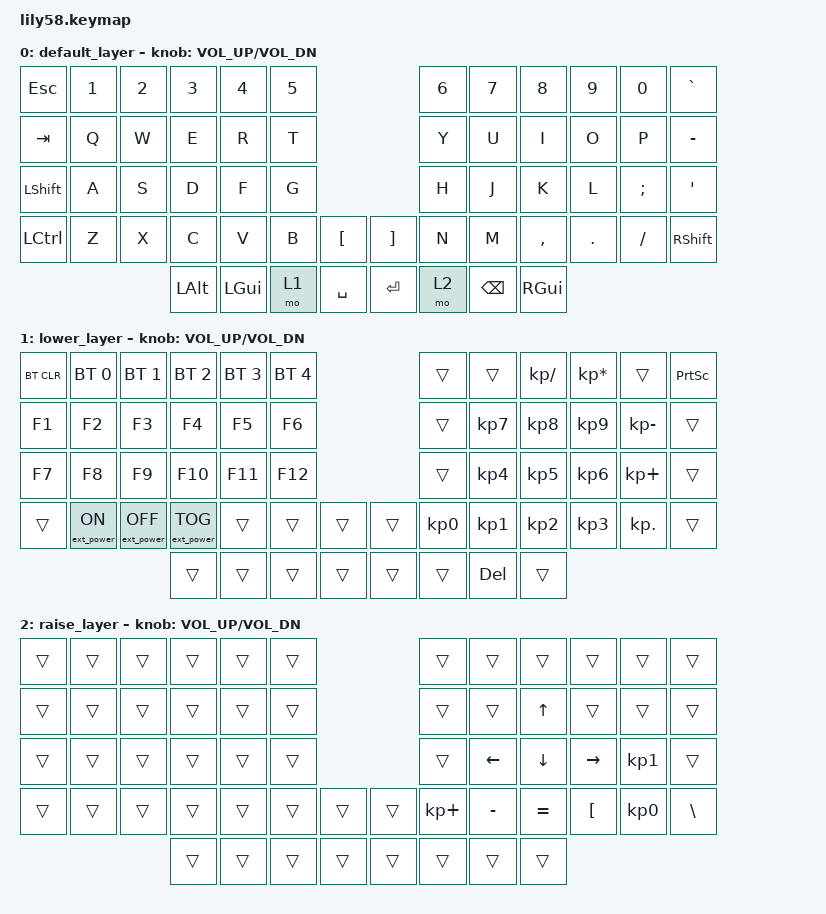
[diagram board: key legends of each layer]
/*
 * Copyright (c) 2020 The ZMK Contributors
 *
 * SPDX-License-Identifier: MIT
 */

#include <behaviors.dtsi>
#include <dt-bindings/zmk/keys.h>
#include <dt-bindings/zmk/bt.h>
#include <dt-bindings/zmk/ext_power.h>

/ {
	keymap {
		compatible = "zmk,keymap";

		default_layer {
// ------------------------------------------------------------------------------------------------------------
// |  ESC  |  1  |  2  |  3   |  4   |  5   |                   |  6   |  7    |  8    |  9   |   0   |   `   |
// |  TAB  |  Q  |  W  |  E   |  R   |  T   |                   |  Y   |  U    |  I    |  O   |   P   |   -   |
// |  CTRL |  A  |  S  |  D   |  F   |  G   |                   |  H   |  J    |  K    |  L   |   ;   |   '   |
// | SHIFT |  Z  |  X  |  C   |  V   |  B   |   "["  |  |  "]"  |  N   |  M    |  ,    |  .   |   /   | SHIFT |
//                     | ALT  | GUI  | LOWER|  SPACE |  | ENTER | RAISE| BSPC  | GUI   |
			bindings = <
&kp ESC   &kp N1 &kp N2 &kp N3   &kp N4   &kp N5                     &kp N6 &kp N7   &kp N8    &kp N9  &kp N0   &kp GRAVE
&kp TAB   &kp Q  &kp W  &kp E    &kp R    &kp T                      &kp Y  &kp U    &kp I     &kp O   &kp P    &kp MINUS
&kp LSHFT &kp A  &kp S  &kp D    &kp F    &kp G                      &kp H  &kp J    &kp K     &kp L   &kp SEMI &kp SQT
&kp LCTRL &kp Z  &kp X  &kp C    &kp V    &kp B  &kp LBKT   &kp RBKT &kp N  &kp M    &kp COMMA &kp DOT &kp FSLH &kp RSHFT
                        &kp LALT &kp LGUI &mo 1  &kp SPACE  &kp RET  &mo 2  &kp BSPC &kp RGUI
			>;

			sensor-bindings = <&inc_dec_kp C_VOL_UP C_VOL_DN>;
		};

		lower_layer {
// ------------------------------------------------------------------------------------------------------------
// | BTCLR | BT1 | BT2 |  BT3 |  BT4 |  BT5 |                   |      |       |  /    |  *   |       | pscrn |
// |  F1   |  F2 |  F3 |  F4  |  F5  |  F6  |                   |      |  7    |  8    |  9   |   -   |       |
// |  F7   |  F8 |  F9 |  F10 |  F11 |  F12 |                   |      |  4    |  5    |  6   |   +   |       |
// |       |     |     |      |      |      |        |  |       |  0   |  1    |  2    |  3   |       |       |
//                     |      |      |      |        |  |       |      |  DEL  |       |
			bindings = <
&bt BT_CLR &bt BT_SEL 0     &bt BT_SEL 1      &bt BT_SEL 2      &bt BT_SEL 3 &bt BT_SEL 4                 &trans     &trans       &kp KP_SLASH   &kp KP_MULTIPLY      &trans          &kp PSCRN
&kp F1     &kp F2           &kp F3            &kp F4            &kp F5       &kp F6                       &trans     &kp KP_N7    &kp KP_N8      &kp KP_N9            &kp KP_MINUS    &trans
&kp F7     &kp F8           &kp F9            &kp F10           &kp F11      &kp F12                      &trans     &kp KP_N4    &kp KP_N5      &kp KP_N6            &kp KP_PLUS     &trans
&trans     &ext_power EP_ON &ext_power EP_OFF &ext_power EP_TOG &trans       &trans    &trans   &trans    &kp KP_N0  &kp KP_N1    &kp KP_N2      &kp KP_N3            &kp KP_DOT      &trans
                                              &trans            &trans       &trans    &trans   &trans    &trans     &kp DELETE   &trans
			>;

			sensor-bindings = <&inc_dec_kp C_VOL_UP C_VOL_DN>;
		};

		raise_layer {
// ------------------------------------------------------------------------------------------------------------
// |       |     |     |      |      |      |                   |      |       |       |      |       |       |
// |       |     |     |      |      |      |                   |      |       |   ^   |      |       |       |
// |       |     |     |      |      |      |                   |      |   <-  |   v   |  ->  |   1   |       |
// |       |     |     |      |      |      |        |  |       |  +   |   -   |   =   |  [   |   ]   |   \   |
//                     |      |      |      |        |  |       |      |       |       |
			bindings = <
&trans   &trans  &trans  &trans  &trans  &trans                       &trans      &trans    &trans    &trans      &trans     &trans
&trans   &trans  &trans  &trans  &trans  &trans                       &trans      &trans    &kp UP    &trans      &trans     &trans
&trans   &trans  &trans  &trans  &trans  &trans                       &trans      &kp LEFT  &kp DOWN  &kp RIGHT   &kp KP_N1  &trans
&trans   &trans  &trans  &trans  &trans  &trans    &trans   &trans    &kp KP_PLUS &kp MINUS &kp EQUAL &kp LBKT    &kp KP_N0  &kp BSLH
                         &trans  &trans  &trans    &trans   &trans    &trans      &trans    &trans
			>;

			sensor-bindings = <&inc_dec_kp C_VOL_UP C_VOL_DN>;
		};
	};
};
